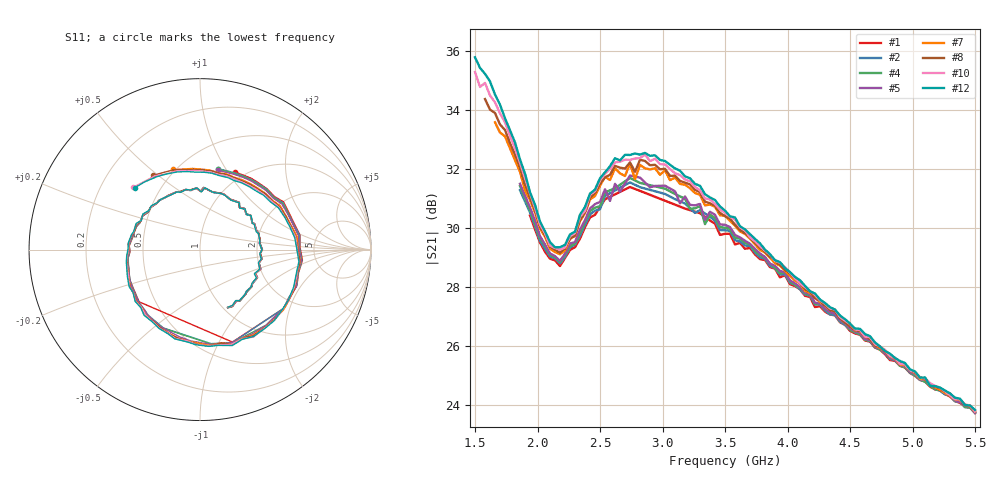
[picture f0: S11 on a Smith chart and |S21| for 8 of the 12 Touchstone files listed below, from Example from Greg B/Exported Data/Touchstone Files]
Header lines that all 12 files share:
! RsaToolbox (C) 2015 Rohde & Schwarz America
! Number of ports: 2
! Balanced ports?: No
# Hz S RI R 50
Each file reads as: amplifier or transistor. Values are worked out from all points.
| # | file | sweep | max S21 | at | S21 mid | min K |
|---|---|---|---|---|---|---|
| 1 | Pin -18.57 dBm.s2p | 1.94 GHz to 5.5 GHz | 31.4 dB | 2.74 GHz | 27.9 dB at 4.1 GHz | 1.73 |
| 2 | Pin -18.88 dBm.s2p | 1.86 GHz to 5.5 GHz | 31.5 dB | 2.74 GHz | 28.4 dB at 3.98 GHz | 1.73 |
| 3 | Pin -19.8 dBm.s2p | 1.82 GHz to 5.5 GHz | 31.9 dB | 2.74 GHz | 29.5 dB at 3.7 GHz | 1.73 |
| 4 | Pin -19.18 dBm.s2p | 1.86 GHz to 5.5 GHz | 31.7 dB | 2.74 GHz | 28.7 dB at 3.9 GHz | 1.73 |
| 5 | Pin -19.49 dBm.s2p | 1.86 GHz to 5.5 GHz | 31.8 dB | 2.74 GHz | 29.0 dB at 3.82 GHz | 1.74 |
| 6 | Pin -20.1 dBm.s2p | 1.74 GHz to 5.5 GHz | 32.7 dB | 1.74 GHz | 29.7 dB at 3.66 GHz | 1.70 |
| 7 | Pin -21.02 dBm.s2p | 1.66 GHz to 5.5 GHz | 33.6 dB | 1.66 GHz | 30.1 dB at 3.58 GHz | 1.66 |
| 8 | Pin -21.63 dBm.s2p | 1.58 GHz to 5.5 GHz | 34.4 dB | 1.58 GHz | 30.3 dB at 3.54 GHz | 1.61 |
| 9 | Pin -22.55 dBm.s2p | 1.5 GHz to 5.5 GHz | 35.2 dB | 1.5 GHz | 30.5 dB at 3.5 GHz | 1.59 |
| 10 | Pin -22.86 dBm.s2p | 1.5 GHz to 5.5 GHz | 35.3 dB | 1.5 GHz | 30.5 dB at 3.5 GHz | 1.57 |
| 11 | Pin -23.47 dBm.s2p | 1.5 GHz to 5.5 GHz | 35.5 dB | 1.5 GHz | 30.5 dB at 3.5 GHz | 1.57 |
| 12 | Pin -24.39 dBm.s2p | 1.5 GHz to 5.5 GHz | 35.8 dB | 1.5 GHz | 30.6 dB at 3.5 GHz | 1.55 |
